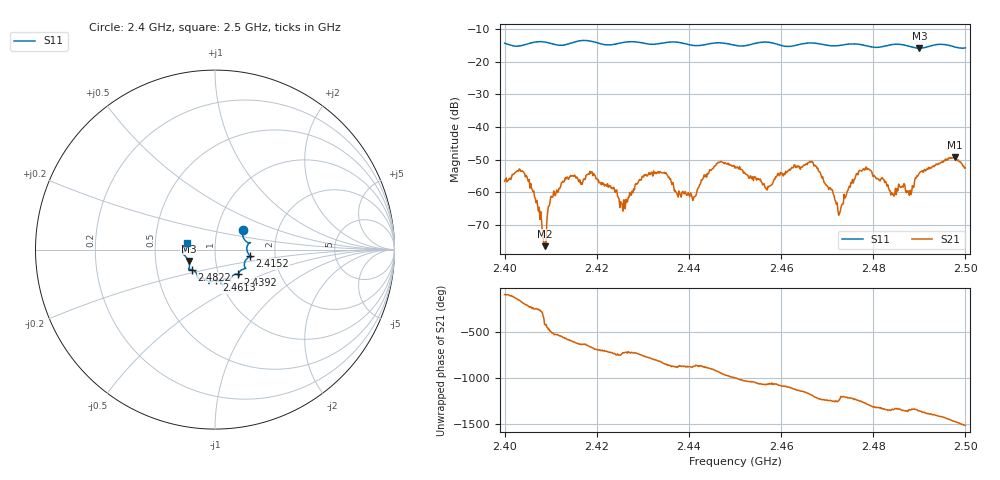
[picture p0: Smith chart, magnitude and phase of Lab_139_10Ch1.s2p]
# Hz S RI R 50
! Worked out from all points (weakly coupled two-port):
!   601 points, 2.4 GHz to 2.5 GHz, reference 50 ohm
!   highest |S21| = -49.29 dB at 2.4977 GHz (marker M1); lowest = -76.4 dB at 2.4087 GHz (marker M2)
!   lowest |S11| = -15.9 dB at 2.49 GHz (marker M3), VSWR 1.38, Z = 36.9 - j4.84 ohm
!   |S11| at or under -10 dB: start of sweep to end of sweep
!   S12 and S22 are empty: the file has one direction only
!   S11 on the Smith chart (normalised r, x): 2.4 GHz: 1.33, +0.30; 2.4152 GHz: 1.48, -0.11; 2.4392 GHz: 1.23, -0.35; 2.4613 GHz: 0.96, -0.34; 2.4822 GHz: 0.76, -0.17; 2.5 GHz: 0.73, +0.05
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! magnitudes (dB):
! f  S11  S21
! 2.4 GHz  -14.4  -56.6
! 2.4043 GHz  -14.9  -54.3
! 2.4087 GHz  -14.0  -76.4
! 2.4103 GHz  -14.6  -61.5
! 2.4152 GHz  -14.0  -54.7
! 2.4167 GHz  -13.6  -57.1
! 2.419 GHz  -13.8  -53.7
! 2.4257 GHz  -14.2  -65.7
! 2.4333 GHz  -14.6  -53.6
! 2.4392 GHz  -14.5  -59.7
! 2.45 GHz  -15.0  -52.6
! 2.457 GHz  -14.1  -59.3
! 2.4613 GHz  -15.4  -53.7
! 2.4667 GHz  -14.3  -50.5
! 2.4725 GHz  -15.1  -67.0
! 2.4773 GHz  -14.8  -53.3
! 2.4822 GHz  -15.4  -56.0
! 2.4833 GHz  -15.0  -58.7
! 2.4878 GHz  -15.3  -60.9
! 2.49 GHz  -15.9  -54.2
! 2.4977 GHz  -15.5  -49.3
! 2.5 GHz  -15.8  -52.5
